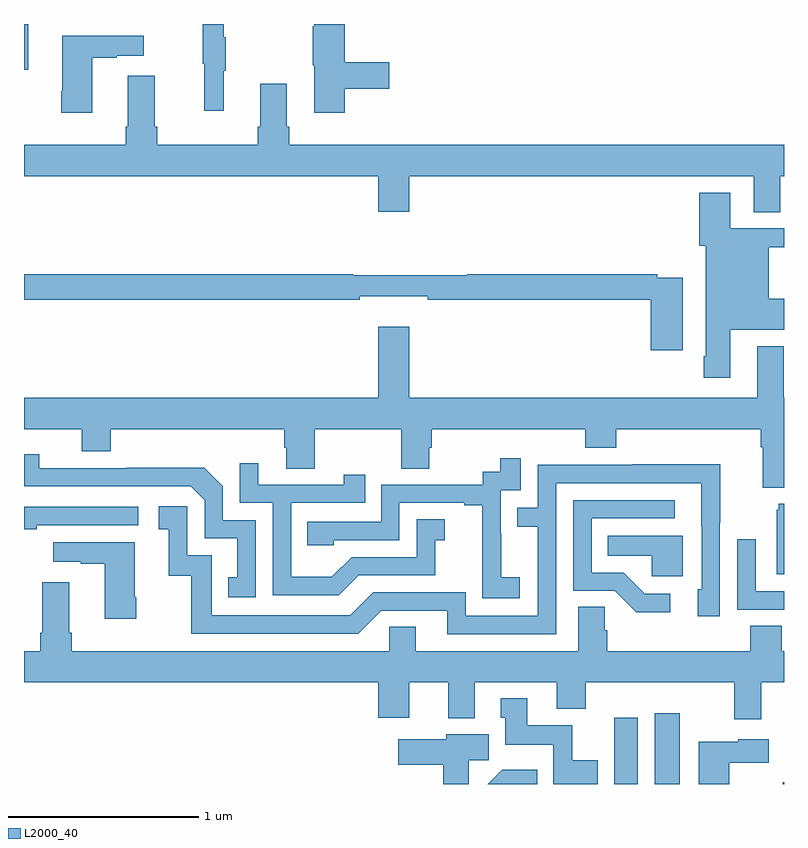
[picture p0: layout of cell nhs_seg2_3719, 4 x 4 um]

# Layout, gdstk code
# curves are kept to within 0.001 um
import gdstk
lib = gdstk.Library(unit=1e-6, precision=1e-09)
def R(c, l, rs):  # rectangles x0, y0, x1, y1
    for r in rs: c.add(gdstk.rectangle(r[:2], r[2:], *l))
def P(c, l, *ps):  # polygons
    for p in ps: c.add(gdstk.Polygon(p, *l))
L2000_40 = (2000, 40)

nhs_seg2_3719 = lib.new_cell('nhs_seg2_3719')
R(nhs_seg2_3719, L2000_40, [(310.106,613.8,310.231,614.149), (310.319,613.8,310.45,614.173), (310.994,613.8,311,613.81), (307,617.559,307.022,617.8)])
P(nhs_seg2_3719, L2000_40, [(308.051,617.555),(308.062,617.555),(308.062,617.729),(308.051,617.729),(308.051,617.8),(307.941,617.8),(307.941,617.592),(307.948,617.592),(307.948,617.343),(308.051,617.343)],
  [(308.687,617.458),(308.923,617.458),(308.923,617.6),(308.687,617.6),(308.687,617.8),(308.528,617.8),(308.528,617.789),(308.521,617.789),(308.521,617.583),(308.528,617.583),(308.528,617.334),(308.687,617.334)],
  [(307.36,617.623),(307.487,617.623),(307.487,617.633),(307.63,617.633),(307.63,617.737),(307.202,617.737),(307.202,617.446),(307.195,617.446),(307.195,617.334),(307.36,617.334)],
  [(310.981,617),(311,617),(311,617.164),(308.396,617.164),(308.396,617.26),(308.383,617.26),(308.383,617.485),(308.243,617.485),(308.243,617.26),(308.231,617.26),(308.231,617.164),(307.7,617.164),(307.7,617.26),(307.687,617.26),(307.687,617.527),(307.547,617.527),(307.547,617.26),(307.535,617.26),(307.535,617.164),(307,617.164),(307,617),(308.864,617),(308.864,616.812),(309.028,616.812),(309.028,617),(310.841,617),(310.841,616.81),(310.981,616.81)],
  [(310.717,616.19),(311,616.19),(311,616.354),(310.921,616.354),(310.921,616.624),(311,616.624),(311,616.725),(310.717,616.725),(310.717,616.912),(310.553,616.912),(310.553,616.632),(310.589,616.632),(310.589,616.051),(310.577,616.051),(310.577,615.939),(310.717,615.939)],
  [(310.468,616.464),(310.334,616.464),(310.334,616.484),(309.334,616.484),(309.334,616.477),(308.734,616.477),(308.734,616.484),(307,616.484),(307,616.348),(308.768,616.348),(308.768,616.367),(309.124,616.367),(309.124,616.348),(310.298,616.348),(310.298,616.083),(310.468,616.083)],
  [(311,615.832),(310.999,615.832),(310.999,616.105),(310.859,616.105),(310.859,615.832),(309.028,615.832),(309.028,616.207),(308.864,616.207),(308.864,615.832),(307,615.832),(307,615.668),(307.304,615.668),(307.304,615.551),(307.457,615.551),(307.457,615.668),(308.369,615.668),(308.369,615.57),(308.381,615.57),(308.381,615.46),(308.529,615.46),(308.529,615.668),(308.986,615.668),(308.986,615.46),(309.133,615.46),(309.133,615.57),(309.146,615.57),(309.146,615.668),(309.953,615.668),(309.953,615.569),(310.118,615.569),(310.118,615.668),(310.877,615.668),(310.877,615.572),(310.889,615.572),(310.889,615.359),(311,615.359)],
  [(308.22,615.189),(308.046,615.189),(308.046,615.366),(307.948,615.464),(307.54,615.464),(307.54,615.462),(307.08,615.462),(307.08,615.535),(307,615.535),(307,615.366),(307.878,615.366),(307.95,615.294),(307.95,615.093),(308.123,615.093),(308.123,614.889),(308.074,614.889),(308.074,614.784),(308.22,614.784)],
  [(309.61,614.887),(309.512,614.887),(309.512,615.116),(309.51,615.116),(309.51,615.345),(309.615,615.345),(309.615,615.514),(309.507,615.514),(309.507,615.444),(309.414,615.444),(309.414,615.375),(308.88,615.375),(308.88,615.18),(308.491,615.18),(308.491,615.057),(308.631,615.057),(308.631,615.084),(308.976,615.084),(308.976,615.279),(309.317,615.279),(309.317,615.267),(309.413,615.267),(309.413,614.983),(309.412,614.983),(309.412,614.777),(309.61,614.777)],
  [(308.761,614.898),(309.165,614.898),(309.165,615.083),(309.214,615.083),(309.214,615.193),(309.066,615.193),(309.066,614.994),(308.724,614.994),(308.62,614.89),(308.406,614.89),(308.406,615.279),(308.795,615.279),(308.795,615.427),(308.684,615.427),(308.684,615.375),(308.233,615.375),(308.233,615.487),(308.136,615.487),(308.136,615.279),(308.31,615.279),(308.31,614.793),(308.656,614.793)],
  [(309.801,615.384),(310.565,615.384),(310.566,614.826),(310.547,614.826),(310.547,614.682),(310.662,614.682),(310.662,615.175),(310.665,615.175),(310.665,615.482),(310.201,615.482),(310.201,615.48),(309.705,615.48),(309.705,615.255),(309.595,615.255),(309.595,615.154),(309.705,615.154),(309.705,614.685),(309.324,614.685),(309.324,614.808),(308.838,614.808),(308.718,614.688),(307.989,614.688),(307.989,615.003),(307.86,615.003),(307.86,615.262),(307.71,615.262),(307.71,615.141),(307.763,615.141),(307.763,614.895),(307.881,614.895),(307.881,614.592),(308.76,614.592),(308.88,614.712),(309.227,614.712),(309.227,614.589),(309.801,614.589)],
  [(310.402,614.802),(310.267,614.802),(310.156,614.913),(309.987,614.913),(309.987,615.198),(310.426,615.198),(310.426,615.294),(309.891,615.294),(309.891,614.817),(310.11,614.817),(310.223,614.705),(310.402,614.705)],
  [(311,615.274),(310.973,615.274),(310.973,615.243),(310.961,615.243),(310.961,614.903),(311,614.903)],
  [(307.067,615.162),(307.6,615.162),(307.6,615.258),(307,615.258),(307,615.142),(307.067,615.142)],
  [(310.468,615.106),(310.072,615.106),(310.072,615.002),(310.303,615.002),(310.303,614.894),(310.468,614.894)],
  [(311,614.814),(310.851,614.814),(310.851,615.088),(310.755,615.088),(310.755,614.718),(311,614.718)],
  [(307.59,614.782),(307.582,614.782),(307.582,615.073),(307.155,615.073),(307.155,614.969),(307.298,614.969),(307.298,614.959),(307.424,614.959),(307.424,614.67),(307.59,614.67)],
  [(307.25,614.596),(307.237,614.596),(307.237,614.863),(307.097,614.863),(307.097,614.596),(307.085,614.596),(307.085,614.5),(307,614.5),(307,614.336),(308.864,614.336),(308.864,614.148),(309.028,614.148),(309.028,614.336),(309.233,614.336),(309.233,614.147),(309.373,614.147),(309.373,614.336),(309.803,614.336),(309.803,614.195),(309.956,614.195),(309.956,614.336),(310.739,614.336),(310.739,614.142),(310.879,614.142),(310.879,614.336),(311,614.336),(311,614.5),(310.988,614.5),(310.988,614.633),(310.823,614.633),(310.823,614.5),(310.07,614.5),(310.07,614.609),(310.056,614.609),(310.056,614.732),(309.917,614.732),(309.917,614.5),(309.061,614.5),(309.061,614.627),(308.922,614.627),(308.922,614.5),(307.25,614.5)],
  [(310.021,613.924),(309.885,613.924),(309.885,614.11),(309.649,614.11),(309.649,614.251),(309.509,614.251),(309.509,614.148),(309.533,614.148),(309.533,614.006),(309.786,614.006),(309.786,613.8),(310.021,613.8)],
  [(309.34,613.924),(309.445,613.924),(309.445,614.062),(309.222,614.062),(309.222,614.035),(308.97,614.035),(308.97,613.901),(309.206,613.901),(309.206,613.8),(309.34,613.8)],
  [(310.712,613.913),(310.92,613.913),(310.92,614.035),(310.758,614.035),(310.758,614.023),(310.55,614.023),(310.55,613.8),(310.712,613.8)],
  [(309.701,613.876),(309.518,613.876),(309.442,613.8),(309.701,613.8)])

lib.write_gds('nhs_seg2_3719.gds')
